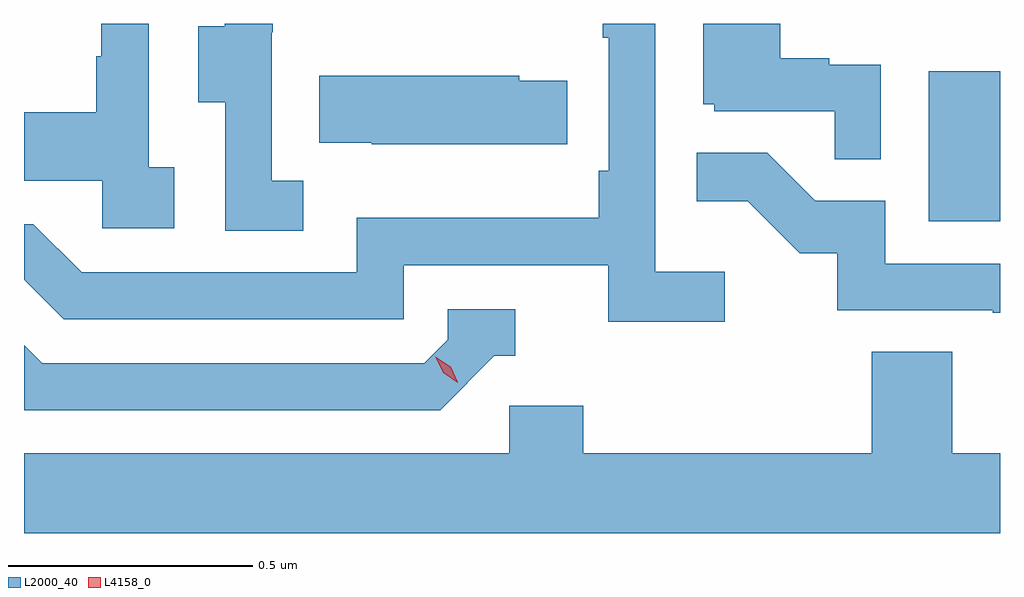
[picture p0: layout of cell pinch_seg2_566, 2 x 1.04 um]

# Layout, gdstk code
import gdstk
lib = gdstk.Library(unit=1e-6, precision=1e-09)
def R(c, l, rs):  # rectangles x0, y0, x1, y1
    for r in rs: c.add(gdstk.rectangle(r[:2], r[2:], *l))
def P(c, l, *ps):  # polygons
    for p in ps: c.add(gdstk.Polygon(p, *l))
L2000_40 = (2000, 40)
L4158_0 = (4158, 0)

pinch_seg2_566 = lib.new_cell('pinch_seg2_566')
R(pinch_seg2_566, L2000_40, [(1084.442,618.972,1084.588,619.279)])
P(pinch_seg2_566, L2000_40, [(1084.344,619.293),(1084.238,619.293),(1084.238,619.306),(1084.138,619.306),(1084.138,619.377),(1083.98,619.377),(1083.98,619.212),(1084.002,619.212),(1084.002,619.197),(1084.249,619.197),(1084.249,619.099),(1084.344,619.099)],
  [(1084.024,618.868),(1083.882,618.868),(1083.882,619.377),(1083.774,619.377),(1083.774,619.348),(1083.786,619.348),(1083.786,619.075),(1083.766,619.075),(1083.766,618.979),(1083.27,618.979),(1083.27,618.867),(1082.706,618.867),(1082.607,618.966),(1082.588,618.966),(1082.588,618.852),(1082.669,618.771),(1083.366,618.771),(1083.366,618.882),(1083.785,618.882),(1083.785,618.766),(1084.024,618.766)],
  [(1082.896,619.082),(1082.844,619.082),(1082.844,619.377),(1082.746,619.377),(1082.746,619.31),(1082.736,619.31),(1082.736,619.195),(1082.588,619.195),(1082.588,619.055),(1082.748,619.055),(1082.748,618.957),(1082.896,618.957)],
  [(1083.16,619.055),(1083.096,619.055),(1083.096,619.359),(1083.098,619.359),(1083.098,619.377),(1082.999,619.377),(1082.999,619.371),(1082.945,619.371),(1082.945,619.216),(1083,619.216),(1083,618.952),(1083.16,618.952)],
  [(1083.701,619.26),(1083.603,619.26),(1083.603,619.27),(1083.193,619.27),(1083.193,619.133),(1083.301,619.133),(1083.301,619.13),(1083.701,619.13)],
  [(1084.588,618.885),(1084.353,618.885),(1084.353,619.014),(1084.209,619.014),(1084.111,619.112),(1083.967,619.112),(1083.967,619.013),(1084.071,619.013),(1084.178,618.906),(1084.255,618.906),(1084.255,618.789),(1084.573,618.789),(1084.573,618.784),(1084.588,618.784)],
  [(1083.552,618.696),(1083.595,618.696),(1083.595,618.792),(1083.456,618.792),(1083.456,618.729),(1083.408,618.681),(1082.625,618.681),(1082.588,618.718),(1082.588,618.585),(1083.441,618.585)],
  [(1084.588,618.496),(1084.49,618.496),(1084.49,618.704),(1084.325,618.704),(1084.325,618.496),(1083.734,618.496),(1083.734,618.594),(1083.582,618.594),(1083.582,618.496),(1082.588,618.496),(1082.588,618.332),(1084.588,618.332)])
P(pinch_seg2_566, L4158_0, [(1083.477,618.641),(1083.447,618.661),(1083.431,618.694),(1083.431,618.694),(1083.431,618.694),(1083.462,618.674),(1083.477,618.642),(1083.477,618.641)])

lib.write_gds('pinch_seg2_566.gds')
